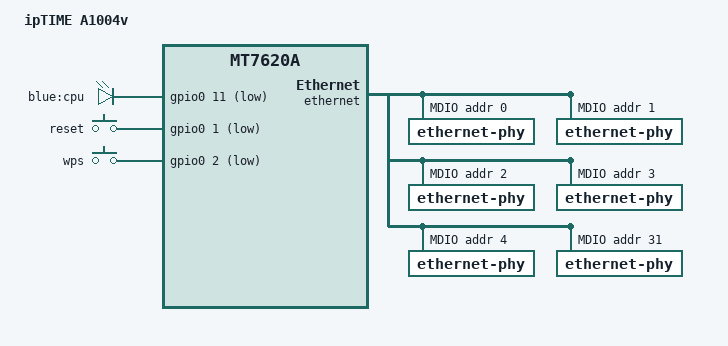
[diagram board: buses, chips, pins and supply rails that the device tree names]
/dts-v1/;

// SPDX-License-Identifier: GPL-2.0-or-later OR MIT

#include "mt7620a_iptime.dtsi"

/ {
	compatible = "iptime,a1004v", "ralink,mt7620a-soc";
	model = "ipTIME A1004v";

	aliases {
		led-boot = &led_cpu;
		led-failsafe = &led_cpu;
		led-running = &led_cpu;
		led-upgrade = &led_cpu;
	};

	leds {
		compatible = "gpio-leds";

		led_cpu: cpu {
			label = "blue:cpu";
			gpios = <&gpio0 11 GPIO_ACTIVE_LOW>;
		};
	};

	keys {
		compatible = "gpio-keys";

		reset {
			label = "reset";
			gpios = <&gpio0 1 GPIO_ACTIVE_LOW>;
			linux,code = <KEY_RESTART>;
		};

		wps {
			label = "wps";
			gpios = <&gpio0 2 GPIO_ACTIVE_LOW>;
			linux,code = <KEY_WPS_BUTTON>;
		};
	};
};

&firmware {
	reg = <0x30000 0x3D0000>;
};

&pinctrl {
	state_default: pinctrl0 {
		gpio {
			ralink,group = "i2c", "uartf", "spi refclk";
			ralink,function = "gpio";
		};
	};
};

&ehci {
	status = "disabled";
};

&ohci {
	status = "disabled";
};

&ethernet {
	pinctrl-names = "default";
	pinctrl-0 = <&rgmii1_pins &mdio_pins>;

	port@5 {
		status = "okay";
		mediatek,fixed-link = <1000 1 1 1>;
		phy-mode = "rgmii";
	};

	mdio-bus {
		status = "okay";

		ethernet-phy@0 {
			reg = <0>;
			phy-mode = "rgmii";
		};

		ethernet-phy@1 {
			reg = <1>;
			phy-mode = "rgmii";
		};

		ethernet-phy@2 {
			reg = <2>;
			phy-mode = "rgmii";
		};

		ethernet-phy@3 {
			reg = <3>;
			phy-mode = "rgmii";
		};

		ethernet-phy@4 {
			reg = <4>;
			phy-mode = "rgmii";
		};

		ethernet-phy@1f {
			reg = <0x1f>;
			phy-mode = "rgmii";
		};
	};
};
